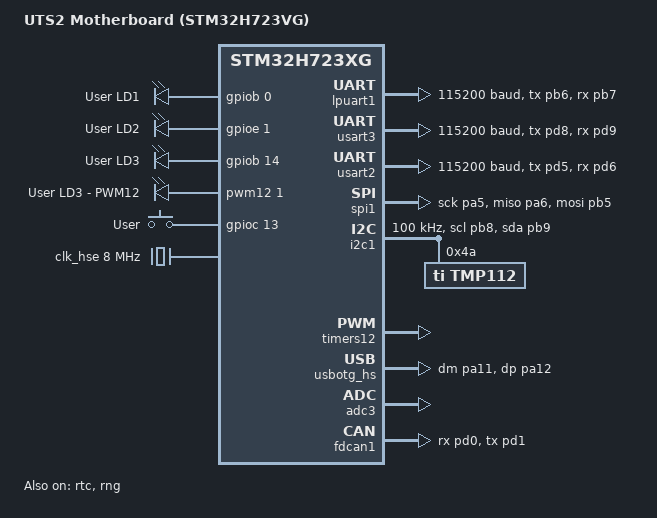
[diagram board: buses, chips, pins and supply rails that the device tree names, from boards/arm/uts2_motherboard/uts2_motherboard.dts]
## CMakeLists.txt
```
# SPDX-License-Identifier: Apache-2.0


cmake_minimum_required(VERSION 3.20.0)
find_package(Zephyr REQUIRED HINTS $ENV{ZEPHYR_BASE})
project(uts2)

target_sources(app PRIVATE
    src/main.c
    src/sensor_thread.c
)
```

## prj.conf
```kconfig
CONFIG_GPIO=y
CONFIG_STDOUT_CONSOLE=y
CONFIG_I2C=y
CONFIG_SENSOR=y
```

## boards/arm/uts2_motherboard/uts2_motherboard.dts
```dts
/*
 * Copyright (c) 2020 Alexander Kozhinov <ak.alexander.kozhinov@gmail.com>
 * SPDX-License-Identifier: Apache-2.0
 */

/dts-v1/;
#include <st/h7/stm32h723Xg.dtsi>
#include <st/h7/stm32h723zgtx-pinctrl.dtsi>
#include <zephyr/dt-bindings/input/input-event-codes.h>

/*
 * WARNING:
 * JP6 and SB72 must be ON when using Ethernet.
 */

/ {
	model = "UTS2 Motherboard (STM32H723VG)";
        compatible = "st,uts2-motherboard";

	chosen {
		zephyr,console = &usart3;
		zephyr,shell-uart = &usart3;
		zephyr,dtcm = &dtcm;
		zephyr,sram = &sram0;
		zephyr,flash = &flash0;
		zephyr,canbus = &fdcan1;
	        zephyr,code-partition = &flash0;
	};

	leds: leds {
		compatible = "gpio-leds";

		green_led: led_0 {
			gpios = <&gpiob 0 GPIO_ACTIVE_HIGH>;
			label = "User LD1";
		};

		yellow_led: led_1 {
			gpios = <&gpioe 1 GPIO_ACTIVE_HIGH>;
			label = "User LD2";
		};

		red_led: led_2 {
			gpios = <&gpiob 14 GPIO_ACTIVE_HIGH>;
			label = "User LD3";
		};
	};

	pwmleds {
		compatible = "pwm-leds";

		red_pwm_led: red_pwm_led {
			pwms = <&pwm12 1 PWM_MSEC(20) PWM_POLARITY_NORMAL>;
			label = "User LD3 - PWM12";
		};
	};

	gpio_keys {
		compatible = "gpio-keys";

		user_button: button_0 {
			label = "User";
			gpios = <&gpioc 13 GPIO_ACTIVE_HIGH>;
			zephyr,code = <INPUT_KEY_0>;
		};
	};

	aliases {
		led0 = &green_led;
		led1 = &yellow_led;
		led2 = &red_led;
		pwm-led0 = &red_pwm_led;
		sw0 = &user_button;
	};
};

&clk_lsi {
	status = "okay";
};

&clk_hsi48 {
	status = "okay";
};

&clk_hse {
	hse-bypass;
	clock-frequency = <DT_FREQ_M(8)>; /* STLink 8MHz clock */
	status = "okay";
};

&clk_lse {
	status = "okay";
};

&pll {
	div-m = <4>;
	mul-n = <275>;
	div-p = <1>;
	div-q = <4>;
	div-r = <2>;
	clocks = <&clk_hse>;
	status = "okay";
};

&pll2 {
	div-m = <1>;
	mul-n = <10>;
	div-p = <1>;
	div-q = <1>;
	div-r = <1>;
	clocks = <&clk_hse>;
	status = "okay";
};

&rcc {
	clocks = <&pll>;
	clock-frequency = <DT_FREQ_M(550)>;
	d1cpre = <1>;
	hpre = <2>;    /* HCLK: 275   MHz */
	d1ppre = <2>;  /* APB1: 137.5 MHz */
	d2ppre1 = <2>; /* APB2: 137.5 MHz */
	d2ppre2 = <2>; /* APB3: 137.5 MHz */
	d3ppre = <2>;  /* APB4: 137.5 MHz */
};

&pwr {
	power-supply = "ldo";
};

&lpuart1 {
	pinctrl-0 = <&lpuart1_tx_pb6 &lpuart1_rx_pb7>;
	pinctrl-names = "default";
	current-speed = <115200>;
	status = "okay";
};

&usart3 {
	pinctrl-0 = <&usart3_tx_pd8 &usart3_rx_pd9>;
	pinctrl-names = "default";
	current-speed = <115200>;
	status = "okay";
};

&usart2 {
	pinctrl-0 = <&usart2_tx_pd5 &usart2_rx_pd6>;
	pinctrl-names = "default";
	current-speed = <115200>;
	status = "okay";
};

&rtc {
	clocks = <&rcc STM32_CLOCK(APB4, 16)>,
		 <&rcc STM32_SRC_LSI RTC_SEL(2)>;
	status = "okay";
};

&spi1 {
	status = "okay";
	pinctrl-0 = <&spi1_sck_pa5 &spi1_miso_pa6 &spi1_mosi_pb5>;
	pinctrl-names = "default";
	cs-gpios = <&gpiod 14 (GPIO_ACTIVE_LOW | GPIO_PULL_UP)>;
};

&i2c1 {
	pinctrl-0 = <&i2c1_scl_pb8 &i2c1_sda_pb9>;
	pinctrl-names = "default";
	status = "okay";
	clock-frequency = <100000>;
	
	tmp112@4a {
           compatible = "ti,tmp112";
	   reg = <0x4a>;
	};
};

&backup_sram {
	status = "okay";
};

&timers12 {
	st,prescaler = <10000>;
	status = "okay";

	pwm12: pwm {
		status = "okay";
		pinctrl-0 = <&tim12_ch1_pb14>;
		pinctrl-names = "default";
	};
};

&mac {
	status = "disabled";
	pinctrl-0 = <&eth_ref_clk_pa1
		     &eth_crs_dv_pa7
		     &eth_rxd0_pc4
		     &eth_rxd1_pc5
		     &eth_tx_en_pg11
		     &eth_txd0_pg13
		     &eth_txd1_pb13>;
	pinctrl-names = "default";
	phy-connection-type = "rmii";
	phy-handle = <&eth_phy>;
};

&mdio {
	status = "disabled";
	pinctrl-0 = <&eth_mdio_pa2 &eth_mdc_pc1>;
	pinctrl-names = "default";

	eth_phy: ethernet-phy@0 {
		compatible = "ethernet-phy";
		reg = <0>;
	};
};

zephyr_udc0: &usbotg_hs {
	pinctrl-0 = <&usb_otg_hs_dm_pa11 &usb_otg_hs_dp_pa12>;
	pinctrl-names = "default";
	status = "okay";
};

&rng {
	status = "okay";
};

&adc3 {
    status = "okay";
    st,adc-clock-source = "SYNC";
    st,adc-prescaler = <4>;
};

&dma1 {
    status = "okay";
};


&fdcan1 {
	pinctrl-0 = <&fdcan1_rx_pd0 &fdcan1_tx_pd1>;
	pinctrl-names = "default";
	clocks = <&rcc STM32_CLOCK(APB1_2, 8)>,
		 <&rcc STM32_SRC_PLL2_Q FDCAN_SEL(2)>;
	status = "okay";
};
```

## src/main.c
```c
/*
 * Copyright (c) 2016 Intel Corporation
 *
 * SPDX-License-Identifier: Apache-2.0
 */

#include <stdio.h>
#include <zephyr/kernel.h>
#include <zephyr/drivers/gpio.h>
#include "sensor_thread.h"

/* 1000 msec = 1 sec */
#define SLEEP_TIME_MS   1000

/* The devicetree node identifier for the "led0" alias. */
#define LED0_NODE DT_ALIAS(led0)

#define LED1_NODE DT_ALIAS(led1)

/*
 * A build error on this line means your board is unsupported.
 * See the sample documentation for information on how to fix this.
 */
static const struct gpio_dt_spec led = GPIO_DT_SPEC_GET(LED0_NODE, gpios);
static const struct gpio_dt_spec led1 = GPIO_DT_SPEC_GET(LED1_NODE, gpios);

/* Размер стека для потоков */
#define STACK_SIZE 1024

/* Периоды мигания */
#define LED0_PERIOD_MS 500   /* Быстрое мигание зеленым */
#define LED1_PERIOD_MS 500   /* Медленное мигание желтым */

/* Приоритеты потоков (чем меньше число, тем выше приоритет) */
#define LED0_PRIORITY 5
#define LED1_PRIORITY 5

void led0_thread(void *arg1, void *arg2, void *arg3)
{
    const struct gpio_dt_spec *led = (const struct gpio_dt_spec *)arg1;
    uint32_t count = 0;

    /* Настройка пина */
    gpio_pin_configure_dt(led, GPIO_OUTPUT_ACTIVE);
    printf("[LED0 Thread] Started (period = %d ms)\n", LED0_PERIOD_MS);

    while (1) {
        gpio_pin_toggle_dt(led);
        count++;
        printf("[LED0] Blink #%u\n", count);
        k_msleep(LED0_PERIOD_MS);
    }
}

void led1_thread(void *arg1, void *arg2, void *arg3)
{
    const struct gpio_dt_spec *led = (const struct gpio_dt_spec *)arg1;
    uint32_t count = 0;

    /* Настройка пина */
    gpio_pin_configure_dt(led, GPIO_OUTPUT_ACTIVE);
    printf("[LED1 Thread] Started (period = %d ms)\n", LED1_PERIOD_MS);

    while (1) {
        gpio_pin_toggle_dt(led);
        count++;
        printf("[LED1] Blink #%u\n", count);
        k_msleep(LED1_PERIOD_MS);
    }
}

K_THREAD_STACK_DEFINE(led0_stack, STACK_SIZE);
K_THREAD_STACK_DEFINE(led1_stack, STACK_SIZE);

static struct k_thread led0_thread_data;
static struct k_thread led1_thread_data;


int main(void)
{
	int ret;
	

	if (!gpio_is_ready_dt(&led)) {
		return 0;
	}

	if (!gpio_is_ready_dt(&led1)) {
		return 0;
	}
	/* Создаем поток для зеленого светодиода */
    k_thread_create(
        &led0_thread_data,    /* Структура потока */
        led0_stack,           /* Стек */
        STACK_SIZE,           /* Размер стека */
        led0_thread,          /* Функция потока */
        (void *)&led,        /* Аргумент 1 — указатель на led0 */
        NULL,                 /* Аргумент 2 */
        NULL,                 /* Аргумент 3 */
        LED0_PRIORITY,        /* Приоритет */
        0,                    /* Флаги */
        K_NO_WAIT             /* Задержка перед запуском */
    );

    /* Создаем поток для желтого светодиода */
    k_thread_create(
        &led1_thread_data,
        led1_stack,
        STACK_SIZE,
        led1_thread,
        (void *)&led1,
        NULL,
        NULL,
        LED1_PRIORITY,
        0,
        K_NO_WAIT
    );
	
    ret = sensor_thread_start();

 	while (1) {
        k_msleep(5000);
        printf("[Main] Still alive... (LED0 fast, LED1 slow)\n");
    }

	return 0;
}
```

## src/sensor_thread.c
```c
#include <stdio.h>
#include <zephyr/kernel.h>
#include <zephyr/device.h>
#include <zephyr/drivers/i2c.h>

#include "sensor_thread.h"

/* Адрес датчика на шине I2C */
#define SENSOR_I2C_ADDR 0x48

/* Устройство I2C из Devicetree */
#define I2C_DEV DEVICE_DT_GET(DT_NODELABEL(i2c1))

/* Стек и структура потока */
K_THREAD_STACK_DEFINE(sensor_stack, SENSOR_STACK_SIZE);
static struct k_thread sensor_thread_data;


static double_t _sensor_temp = 0;
/* -------------------------------------------------------------------------- */

/**
 * @brief Прочитать 2 байта из датчика (температура)
 *
 * @param i2c_dev Устройство I2C
 * @param temp Указатель на переменную для температуры (в сотых долях градуса)
 * @return 0 при успехе
 */
static int read_temperature(const struct device *i2c_dev, int16_t *temp)
{
    uint8_t buf[2];
    int ret;

    ret = i2c_burst_read(i2c_dev, SENSOR_I2C_ADDR, 0, buf, 2);
    if (ret < 0) {
        return ret;
    }

    /* Преобразование зависит от датчика! Пример для TMP116:
     * Старший байт + младший байт, результат в 0.0078125°C на бит */
    *temp = (int16_t)((buf[0] << 8) | buf[1]);

    return 0;
}




/* -------------------------------------------------------------------------- */

static void sensor_thread_func(void *arg1, void *arg2, void *arg3)
{
    const struct device *i2c_dev = I2C_DEV;
    uint32_t count = 0;

    if (!device_is_ready(i2c_dev)) {
        printf("[SENSOR] ERROR: I2C device not ready!\n");
        return;
    }

    printf("[SENSOR] Thread started (period = %d ms)\n", SENSOR_PERIOD_MS);

    while (1) {
        int16_t raw_temp;
        int ret;

        ret = read_temperature(i2c_dev, &raw_temp);
        if (ret < 0) {
            printf("[SENSOR] Read error: %d\n", ret);
        } else {
            /* Перевод в градусы Цельсия (зависит от датчика!) */
            float temp_c = raw_temp * 0.0078125f;
            printf("[SENSOR] #%u: %.2f °C (raw: 0x%04X)\n",
                   count++, (double)temp_c, raw_temp);
        }

        k_msleep(SENSOR_PERIOD_MS);
    }
}

/* -------------------------------------------------------------------------- */

int sensor_thread_start(void)
{
    k_tid_t tid = k_thread_create(
        &sensor_thread_data,
        sensor_stack,
        SENSOR_STACK_SIZE,
        sensor_thread_func,
        NULL, NULL, NULL,
        SENSOR_PRIORITY,
        0,
        K_NO_WAIT
    );

    if (tid == NULL) {
        printf("[SENSOR] ERROR: Failed to create thread!\n");
        return -1;
    }

    return 0;
}
```

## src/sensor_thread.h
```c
#ifndef SENSOR_THREAD_H
#define SENSOR_THREAD_H

#include <zephyr/kernel.h>

#define SENSOR_STACK_SIZE 1024
#define SENSOR_PRIORITY 5
#define SENSOR_PERIOD_MS 1000

/**
 * @brief Запустить поток опроса датчика
 *
 * @return 0 при успехе, отрицательный код при ошибке
 */
int sensor_thread_start(void);

#endif /* SENSOR_THREAD_H */
```
